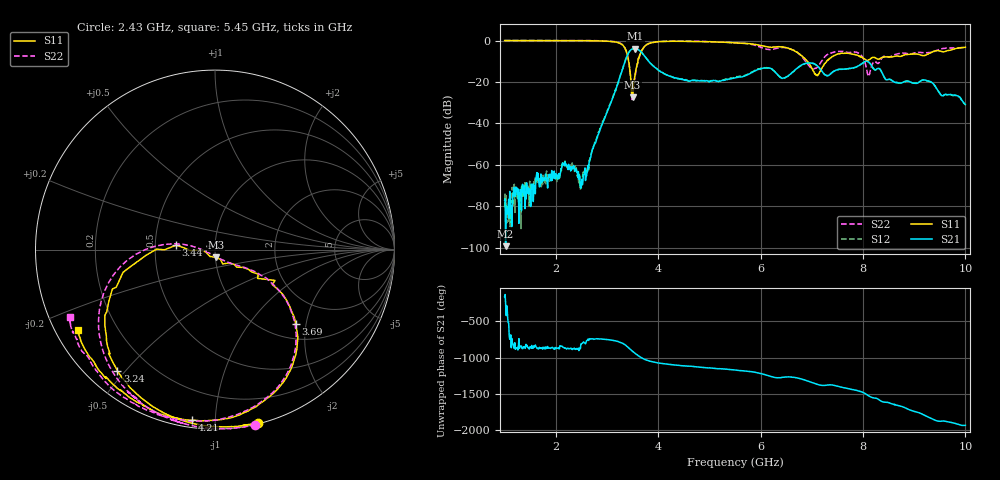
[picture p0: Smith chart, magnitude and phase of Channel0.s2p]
!Agilent Technologies,N5227A,US51270477,A.10.00.00
!File generated by LCAF-GAM-UPV software
!josevmart@iteam.upv.es
!S2P File: Measurements: S11, S21, S12, S22:
# Hz S  dB  R 50
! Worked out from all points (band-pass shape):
!   901 points, 1 GHz to 10 GHz, reference 50 ohm
!   highest |S21| = -3.84 dB at 3.55 GHz (marker M1); lowest = -99.3 dB at 1.02 GHz (marker M2)
!   |S21| within 3 dB of the highest: 3.402 GHz to 3.713 GHz (310.3 MHz wide, 8.72 % of centre)
!   lowest |S11| = -27.3 dB at 3.5 GHz (marker M3), VSWR 1.09, Z = 50.4 - j4.3 ohm
!   |S11| at or under -10 dB: 3.422 GHz to 3.604 GHz (181.8 MHz wide, 5.18 % of centre); 6.91 GHz to 7.292 GHz (382.4 MHz wide, 5.38 % of centre)
!   |S22| runs from -29.1 to 0.1 dB; largest |S21 - S12| = 0.047
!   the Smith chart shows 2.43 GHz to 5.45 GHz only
!   S11 on the Smith chart (normalised r, x): 2.43 GHz: 0.01, -1.28; 3.24 GHz: 0.09, -0.48; 3.44 GHz: 0.64, +0.03; 3.69 GHz: 1.33, -1.74; 4.21 GHz: 0.04, -0.87; 5.45 GHz: 0.07, -0.27
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1e9  -0.00 -30.3  -77.15 -158.3  -80.57 -122.2  0.02 -30.5
1.02e9  0.00 -30.8  -99.32 101.4  -78.84 -12.1  0.02 -31.2
2.16e9  -0.02 -67.1  -60.09 -140.8  -59.10 -147.3  0.04 -67.4
2.43e9  -0.05 -76.0  -66.24 -154.8  -64.32 -174.5  0.01 -77.2
2.5e9  -0.06 -78.5  -69.49 -90.1  -71.24 -78.1  0.01 -79.3
3.24e9  -1.23 -128.8  -18.39 -63.8  -18.53 -62.9  -1.08 -131.0
3.44e9  -13.23 173.6  -5.14 -156.3  -5.19 -153.2  -12.76 171.9
3.5e9  -27.35 -82.7  -3.99 168.1  -3.99 169.4  -28.83 -90.4
3.55e9  -16.17 -38.9  -3.84 140.9  -3.81 141.0  -17.02 -36.8
3.69e9  -4.30 -42.6  -6.12 73.5  -6.09 73.9  -4.40 -42.5
4e9  -0.53 -84.4  -14.23 8.2  -14.21 8.5  -0.56 -85.7
4.21e9  -0.35 -97.8  -17.10 -10.5  -17.11 -10.2  -0.29 -99.5
5.45e9  -1.06 -149.7  -18.32 -85.5  -18.11 -86.2  -0.99 -155.2
5.5e9  -1.16 -151.6  -18.02 -89.0  -17.64 -91.8  -1.11 -158.7
6.65e9  -4.75 145.0  -14.77 170.2  -14.83 170.7  -4.78 143.9
7e9  -13.47 126.3  -10.90 99.2  -10.93 101.0  -13.51 147.7
7.54e9  -6.38 157.7  -13.86 40.4  -13.89 41.5  -5.22 142.1
7.93e9  -7.46 108.6  -11.95 -19.5  -11.99 -19.5  -6.28 87.7
8.11e9  -9.32 103.2  -10.40 -83.5  -10.46 -84.1  -17.31 88.6
8.5e9  -7.96 65.8  -18.75 -178.9  -18.79 -178.1  -8.00 76.8
9.51e9  -5.07 -19.8  -25.86 -75.9  -25.95 -77.3  -4.14 -16.2
1e10  -3.25 -49.6  -30.86 -131.5  -30.97 -132.5  -3.03 -59.6
